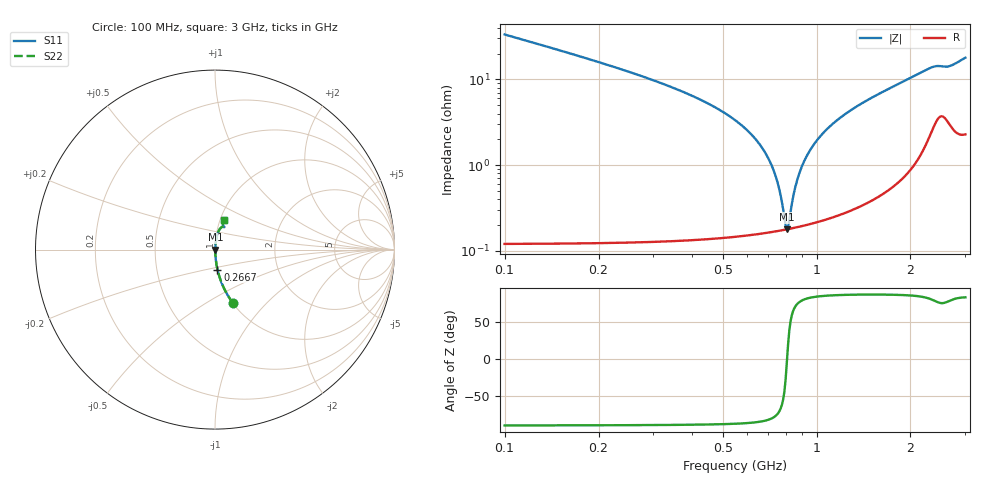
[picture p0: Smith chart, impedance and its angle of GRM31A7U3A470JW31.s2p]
!Murata Part Number: GRM31A7U3A470JW31
!These Parameters are Measured in Series Mode Connection
!Data Generated on Mar 30, 2021
!  o--ll--o
!Port1  Port2
!  o------o
!Operation Temp=25[degC], DC Bias Voltage=0[V]
!Freq. Start=100[MHz] Stop=3[GHz] 401[Steps]
# Hz S RI R 50
!Freq.(Hz) S11(Real) S11(Imag) S21(Real) S21(Imag) S12(Real) S12(Imag) S22(Real) S22(Imag)
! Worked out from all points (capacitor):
!   401 points, 100 MHz to 3 GHz, reference 50 ohm
!   read as one part in series: C = 47 pF near 114.5 MHz
!   lowest |Z| = 179 mohm at 803.2 MHz (marker M1)
!   series resonance near 804.6 MHz, so ESL is about 830 pH
!   S11 on the Smith chart (normalised r, x): 100 MHz: 1.00, -0.67; 266.8 MHz: 1.00, -0.23; 3 GHz: 1.05, +0.36
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1e8  0.101 -0.2995  0.899 0.2995  0.899 0.2995  0.101 -0.2995
1.725e8  0.0351 -0.1807  0.9649 0.1807  0.9649 0.1807  0.0351 -0.1807
2.6675e8  0.0139 -0.1116  0.9861 0.1116  0.9861 0.1116  0.0139 -0.1116
5.8575e8  0.00225 -0.0274  0.9978 0.0274  0.9978 0.0274  0.00225 -0.0274
6.5825e8  0.00188 -0.0172  0.9981 0.0172  0.9981 0.0172  0.00188 -0.0172
7.1625e8  0.00176 -0.00995  0.9982 0.00995  0.9982 0.00995  0.00176 -0.00995
7.525e8  0.00174 -0.00573  0.9983 0.00573  0.9983 0.00573  0.00174 -0.00573
7.8875e8  0.00176 -0.0017  0.9982 0.0017  0.9982 0.0017  0.00176 -0.0017
8.0325e8  0.00178 -0.000142  0.9982 0.000142  0.9982 0.000142  0.00178 -0.000142
8.1775e8  0.00181 0.00139  0.9982 -0.00139  0.9982 -0.00139  0.00181 0.00139
8.395e8  0.00186 0.00365  0.9981 -0.00365  0.9981 -0.00365  0.00186 0.00365
8.6125e8  0.00191 0.00586  0.9981 -0.00586  0.9981 -0.00586  0.00191 0.00586
9.0475e8  0.00206 0.0101  0.9979 -0.0101  0.9979 -0.0101  0.00206 0.0101
9.7725e8  0.00239 0.017  0.9976 -0.017  0.9976 -0.017  0.00239 0.017
1.0715e9  0.00296 0.0253  0.997 -0.0253  0.997 -0.0253  0.00296 0.0253
1.26725e9  0.00461 0.0416  0.9954 -0.0416  0.9954 -0.0416  0.00461 0.0416
1.55e9  0.00822 0.064  0.9918 -0.064  0.9918 -0.064  0.00822 0.064
2.03575e9  0.0205 0.1038  0.9795 -0.1038  0.9795 -0.1038  0.0205 0.1038
2.34025e9  0.041 0.1271  0.959 -0.1271  0.959 -0.1271  0.041 0.1271
2.5215e9  0.0523 0.125  0.9477 -0.125  0.9477 -0.125  0.0523 0.125
2.681e9  0.046 0.1303  0.954 -0.1303  0.954 -0.1303  0.046 0.1303
3e9  0.0509 0.1647  0.9491 -0.1647  0.9491 -0.1647  0.0509 0.1647
